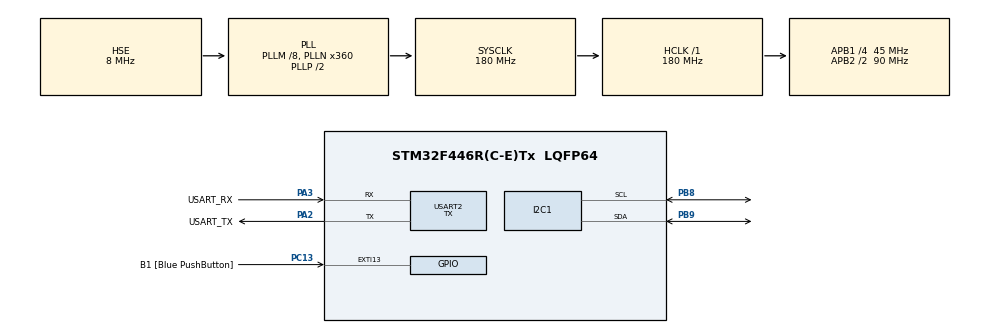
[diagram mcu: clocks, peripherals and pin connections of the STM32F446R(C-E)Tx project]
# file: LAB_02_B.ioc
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Mcu.Family=STM32F4
Mcu.Name=STM32F446R(C-E)Tx
Mcu.Package=LQFP64
NVIC.PriorityGroup=NVIC_PRIORITYGROUP_0
PA2.GPIO_Label=USART_TX
PA2.Mode=Asynchronous
PA2.Signal=USART2_TX
PA3.GPIO_Label=USART_RX
PA3.Mode=Asynchronous
PA3.Signal=USART2_RX
PB8.Mode=I2C
PB8.Signal=I2C1_SCL
PB9.Mode=I2C
PB9.Signal=I2C1_SDA
PC13.GPIO_Label=B1 [Blue PushButton]
PC13.GPIO_ModeDefaultEXTI=GPIO_MODE_IT_FALLING
PC13.Signal=GPXTI13
PH0-OSC_IN.Mode=HSE-External-Oscillator
PH0-OSC_IN.Signal=RCC_OSC_IN
PH1-OSC_OUT.Mode=HSE-External-Oscillator
PH1-OSC_OUT.Signal=RCC_OSC_OUT
ProjectManager.HeapSize=0x200
ProjectManager.StackSize=0x400
ProjectManager.TargetToolchain=STM32CubeIDE
RCC.AHBFreq_Value=180000000
RCC.APB1CLKDivider=RCC_HCLK_DIV4
RCC.APB1Freq_Value=45000000
RCC.APB1TimFreq_Value=90000000
RCC.APB2CLKDivider=RCC_HCLK_DIV2
RCC.APB2Freq_Value=90000000
RCC.APB2TimFreq_Value=180000000
RCC.CortexFreq_Value=180000000
RCC.FLatency-AdvancedSettings=FLASH_LATENCY_5
RCC.HCLKFreq_Value=180000000
RCC.HSE_VALUE=8000000
RCC.HSI_VALUE=16000000
RCC.LSE_VALUE=32768
RCC.PLLM=8
RCC.PLLN=360
RCC.PLLSourceVirtual=RCC_PLLSOURCE_HSE
RCC.SYSCLKFreq_VALUE=180000000
RCC.SYSCLKSource=RCC_SYSCLKSOURCE_PLLCLK
RCC.USBFreq_Value=180000000
RCC.VCOOutputFreq_Value=360000000
TIM6.Prescaler=89
USART2.Mode=MODE_TX
USART2.VirtualMode=VM_ASYNC
VP_TIM6_VS_ClockSourceINT.Mode=Enable_Timer
board=NUCLEO-F446RE

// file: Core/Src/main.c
/* USER CODE BEGIN Header */
/**
  ******************************************************************************
  * @file           : main.c
  * @brief          : Main program body
  ******************************************************************************
  * @attention
  *
  * Copyright (c) 2026 STMicroelectronics.
  * All rights reserved.
  *
  * This software is licensed under terms that can be found in the LICENSE file
  * in the root directory of this software component.
  * If no LICENSE file comes with this software, it is provided AS-IS.
  *
  ******************************************************************************
  */
/* USER CODE END Header */
#include "main.h"

/* USER CODE BEGIN Includes */
#include <stdio.h>
#include <string.h>
#include <stdint.h>
/* USER CODE END Includes */

/* USER CODE BEGIN PTD */

/* 4. Structure for Calibration: */

typedef struct {
    uint16_t TEMP_1;
    int16_t  TEMP_2;
    int16_t  TEMP_3;
    uint16_t PRESS_1;
    int16_t  PRESS_2;
    int16_t  PRESS_3;
    int16_t  PRESS_4;
    int16_t  PRESS_5;
    int16_t  PRESS_6;
    int16_t  PRESS_7;
    int16_t  PRESS_8;
    int16_t  PRESS_9;
    uint8_t  HUM_1;
    int16_t  HUM_2;
    uint8_t  HUM_3;
    int16_t  HUM_4;
    int16_t  HUM_5;
    int8_t   HUM_6;
} BME_P280_CALIBRATION;

/* USER CODE END PTD */

/* USER CODE BEGIN PD */

/* 2. Register Mapping: */

#define BME_P280_REGISTER_CHIP_ID      				0xD0
#define BME_P280_REGISTER_RESET        				0xE0
#define BME_P280_REGISTER_CTRL_HUM   				0xF2
#define BME_P280_REGISTER_STATUS       				0xF3
#define BME_P280_REGISTER_CONTROL_MEASURE    		0xF4
#define BME_P280_REGISTER_CONFIGURE       			0xF5
#define BME_P280_REGISTER_PRESSURE_MSB    			0xF7
#define BME_P280_REGISTER_HUM_MSB     				0xFD
#define BME_P280_REGISTER_HUM_LSB     				0xFE
#define BME_P280_REGISTER_CALIBRATION_START  		0x88
#define BME_P280_REGISTER_HUM_CALIB   				0xA1   // extra calibration byte
#define BME_P280_REGISTER_HUM_CALIB2  				0xE1   // block of humidity calibration
#define BME_P280_RESET_VALUE      					0xB6
#define BME_P280_CTRL_HUM_VALUE      				0x01   // oversampling x1 (minimum)
#define BME_P280_CONTROL_MEASURE_VALUE    			((2U << 5) | (5U << 2) | 3U)   // Decodes to 0x57
#define BME_P280_CONFIGURE_VALUE       				((4U << 5) | (4U << 2))        // Decodes to 0x90

/* 3. Address Mapping: */

#define BME_P280_I2C_ADDRESS         				0x76
#define CHIP_ADDRESS_BME280          				0x60
#define CHIP_ADDRESS_BMP280          				0x58

/* USER CODE END PD */

I2C_HandleTypeDef hi2c1;

TIM_HandleTypeDef htim6;

UART_HandleTypeDef huart2;

/* USER CODE BEGIN PV */
static BME_P280_CALIBRATION CALIBRATION;
static int32_t t_fine;
/* USER CODE END PV */

void SystemClock_Config(void);
static void MX_GPIO_Init(void);
static void MX_I2C1_Init(void);
static void MX_TIM6_Init(void);
static void MX_USART2_UART_Init(void);
/* USER CODE BEGIN PFP */
void USART2_SendString(const char *s);
void delay_us(uint16_t us);
void delay_ms(uint32_t ms);
void I2C_WRITE_BYTE(uint8_t reg, uint8_t data);
uint8_t I2C_READ_BYTE(uint8_t reg);
void I2C_READ_BYTES(uint8_t start_reg, uint8_t *buf, uint8_t len);
int I2C_DEVICE_ALIVE(void);
void BME_P280_CALIBRATION_READ(void);
void BME_P280_INIT(void);
int32_t BME_P280_BOSCH_TEMP_COMPENSATE(int32_t adc_T);
uint32_t BME_P280_BOSCH_PRESS_COMPENSATE(int32_t adc_P);
uint32_t BME_P280_BOSCH_HUM_COMPENSATE(int32_t adc_H);
void BME_P280_TEMP_PRESS_HUM(void);
void SENSOR_CHECK(void);
/* USER CODE END PFP */

/* USER CODE BEGIN 0 */

void USART2_SendString(const char *s)
{
    // Blocking transmit of a null-terminated string over USART2 via HAL
    HAL_UART_Transmit(&huart2, (uint8_t *)s, strlen(s), HAL_MAX_DELAY);
}

void delay_us(uint16_t us)
{
    __HAL_TIM_SET_COUNTER(&htim6, 0U); // Reset TIM6 counter
    while ((uint16_t)__HAL_TIM_GET_COUNTER(&htim6) < us); // Wait until the counter reaches us ticks (1us per tick)
}

void delay_ms(uint32_t ms)
{
    for (uint32_t i = 0; i < ms; i++)
    {
        delay_us(1000U);
    }
}

void I2C_WRITE_BYTE(uint8_t reg, uint8_t data)
{
    // Write a single byte to a register using HAL memory-write (handles START/ADDR/STOP internally)
    HAL_I2C_Mem_Write(&hi2c1, (BME_P280_I2C_ADDRESS << 1), reg,
                      I2C_MEMADD_SIZE_8BIT, &data, 1, HAL_MAX_DELAY);
}

uint8_t I2C_READ_BYTE(uint8_t reg)
{
    uint8_t val = 0xFF; // Buffer for Read value

    // Read a single byte from a register using HAL memory-read (handles repeated START + NACK internally)
    HAL_I2C_Mem_Read(&hi2c1, (BME_P280_I2C_ADDRESS << 1), reg,
                     I2C_MEMADD_SIZE_8BIT, &val, 1, HAL_MAX_DELAY);

    return val;
}

void I2C_READ_BYTES(uint8_t start_reg, uint8_t *buf, uint8_t len)
{
    if (len == 0) return;

    // Burst read of len bytes starting at start_reg using HAL memory-read (auto ACK/NACK per byte)
    HAL_I2C_Mem_Read(&hi2c1, (BME_P280_I2C_ADDRESS << 1), start_reg,
                     I2C_MEMADD_SIZE_8BIT, buf, len, HAL_MAX_DELAY);
}

int I2C_DEVICE_ALIVE(void)
{
    // Probe the slave address; returns 1 if the device ACKs within the given trials/timeout
    int alive = (HAL_I2C_IsDeviceReady(&hi2c1, (BME_P280_I2C_ADDRESS << 1), 3, 100) == HAL_OK); // Boolean to check if Slave ACKs
    delay_ms(2);
    return alive;
}

void BME_P280_CALIBRATION_READ(void)
{
    uint8_t CALIB_VAL[24];
    I2C_READ_BYTES(BME_P280_REGISTER_CALIBRATION_START, CALIB_VAL, 24); // Load 24-byte calibration block starting at 0x88

    CALIBRATION.TEMP_1 = (uint16_t)((CALIB_VAL[1]  << 8) | CALIB_VAL[0]);
    CALIBRATION.TEMP_2 = (int16_t) ((CALIB_VAL[3]  << 8) | CALIB_VAL[2]);
    CALIBRATION.TEMP_3 = (int16_t) ((CALIB_VAL[5]  << 8) | CALIB_VAL[4]);

    CALIBRATION.PRESS_1 = (uint16_t)((CALIB_VAL[7]  << 8) | CALIB_VAL[6]);
    CALIBRATION.PRESS_2 = (int16_t) ((CALIB_VAL[9]  << 8) | CALIB_VAL[8]);
    CALIBRATION.PRESS_3 = (int16_t) ((CALIB_VAL[11] << 8) | CALIB_VAL[10]);
    CALIBRATION.PRESS_4 = (int16_t) ((CALIB_VAL[13] << 8) | CALIB_VAL[12]);
    CALIBRATION.PRESS_5 = (int16_t) ((CALIB_VAL[15] << 8) | CALIB_VAL[14]);
    CALIBRATION.PRESS_6 = (int16_t) ((CALIB_VAL[17] << 8) | CALIB_VAL[16]);
    CALIBRATION.PRESS_7 = (int16_t) ((CALIB_VAL[19] << 8) | CALIB_VAL[18]);
    CALIBRATION.PRESS_8 = (int16_t) ((CALIB_VAL[21] << 8) | CALIB_VAL[20]);
    CALIBRATION.PRESS_9 = (int16_t) ((CALIB_VAL[23] << 8) | CALIB_VAL[22]);

    CALIBRATION.HUM_1 = I2C_READ_BYTE(BME_P280_REGISTER_HUM_CALIB);
	uint8_t humCalib[7];
	I2C_READ_BYTES(BME_P280_REGISTER_HUM_CALIB2, humCalib, 7);

	CALIBRATION.HUM_2 = (int16_t)((humCalib[1] << 8) | humCalib[0]);
	CALIBRATION.HUM_3 = humCalib[2];
	CALIBRATION.HUM_4 = (int16_t)((humCalib[3] << 4) | (humCalib[4] & 0x0F));
	CALIBRATION.HUM_5 = (int16_t)((humCalib[5] << 4) | (humCalib[4] >> 4));
	CALIBRATION.HUM_6 = (int8_t)humCalib[6];
}

void BME_P280_INIT(void)
{
    // 1. Reset the sensor (soft reset command 0xB6 to register 0xE0)
    I2C_WRITE_BYTE(BME_P280_REGISTER_RESET, BME_P280_RESET_VALUE);
    delay_ms(10); // Wait for reset to complete

    // 2. Configure general settings (IIR filter, standby time, etc.)
    // Value 0x90 = filter coefficient x16, standby time 125 ms
    I2C_WRITE_BYTE(BME_P280_REGISTER_CONFIGURE, BME_P280_CONFIGURE_VALUE);
    delay_ms(2); // Short delay for register update
    I2C_WRITE_BYTE(BME_P280_REGISTER_CTRL_HUM, BME_P280_CTRL_HUM_VALUE);
    delay_ms(2);

    // 3. Configure measurement control (oversampling + mode)
    // Value 0x57 = Temp oversampling x2, Pressure oversampling x5, Normal mode
    I2C_WRITE_BYTE(BME_P280_REGISTER_CONTROL_MEASURE, BME_P280_CONTROL_MEASURE_VALUE);
    delay_ms(2); // Short delay for register update
}

int32_t BME_P280_BOSCH_TEMP_COMPENSATE(int32_t adc_T)
{
    int32_t var1, var2, T;

    // First correction term: linear offset/slope adjustment
    var1 = ((((adc_T >> 3) - ((int32_t)CALIBRATION.TEMP_1 << 1)))
             * ((int32_t)CALIBRATION.TEMP_2)) >> 11;

    // Second correction term: quadratic correction for non-linearity
    var2 = (((((adc_T >> 4) - ((int32_t)CALIBRATION.TEMP_1))
             * ((adc_T >> 4) - ((int32_t)CALIBRATION.TEMP_1))) >> 12)
             * ((int32_t)CALIBRATION.TEMP_3)) >> 14;

    // Fine temperature value (global correction factor reused in pressure/humidity)
    t_fine = var1 + var2;

    // Final compensated temperature in 0.01 °C units
    T = (t_fine * 5 + 128) >> 8;

    return T;
}

uint32_t BME_P280_BOSCH_PRESS_COMPENSATE(int32_t adc_P)
{
    int64_t var1, var2, p;

    // Fine temperature correction
    var1 = ((int64_t)t_fine) - 128000;

    // Higher-order polynomial corrections
    var2 = var1 * var1 * (int64_t)CALIBRATION.PRESS_6;
    var2 = var2 + ((var1 * (int64_t)CALIBRATION.PRESS_5) << 17);
    var2 = var2 + (((int64_t)CALIBRATION.PRESS_4) << 35);

    // More corrections using PRESS_2 and PRESS_3
    var1 = ((var1 * var1 * (int64_t)CALIBRATION.PRESS_3) >> 8)
         + ((var1 * (int64_t)CALIBRATION.PRESS_2) << 12);

    // Scaling with PRESS_1 (main pressure calibration factor)
    var1 = (((((int64_t)1) << 47) + var1)) * ((int64_t)CALIBRATION.PRESS_1) >> 33;

    // Guard against division by zero
    if (var1 == 0) return 0;

    // Pressure calculation
    p = 1048576 - adc_P;
    p = (((p << 31) - var2) * 3125) / var1;

    // PRESS_9 and PRESS_8 corrections
    var1 = (((int64_t)CALIBRATION.PRESS_9) * (p >> 13) * (p >> 13)) >> 25;
    var2 = (((int64_t)CALIBRATION.PRESS_8) * p) >> 19;

    // Final adjustment with PRESS_7
    p = ((p + var1 + var2) >> 8) + (((int64_t)CALIBRATION.PRESS_7) << 4);

    // Return compensated pressure in Pa (integer)
    return (uint32_t)(p >> 8);
}

uint32_t BME_P280_BOSCH_HUM_COMPENSATE(int32_t adc_H)
{
    int32_t v_x1_u32r;

    v_x1_u32r = t_fine - ((int32_t)76800);
    v_x1_u32r = (((((adc_H << 14) - (((int32_t)CALIBRATION.HUM_4) << 20)
                  - (((int32_t)CALIBRATION.HUM_5) * v_x1_u32r)) + ((int32_t)16384)) >> 15)
                  * ((((((v_x1_u32r * ((int32_t)CALIBRATION.HUM_6)) >> 10)
                  * (((v_x1_u32r * ((int32_t)CALIBRATION.HUM_3)) >> 11) + ((int32_t)32768))) >> 10)
                  + ((int32_t)2097152)) * ((int32_t)CALIBRATION.HUM_2) + 8192)) >> 14;

    v_x1_u32r = (v_x1_u32r - (((((v_x1_u32r >> 15) * (v_x1_u32r >> 15)) >> 7)
                  * ((int32_t)CALIBRATION.HUM_1)) >> 4));

    v_x1_u32r = (v_x1_u32r < 0 ? 0 : v_x1_u32r);
    v_x1_u32r = (v_x1_u32r > 419430400 ? 419430400 : v_x1_u32r);

    return (uint32_t)(v_x1_u32r >> 12); // result in %RH * 1024
}

void BME_P280_TEMP_PRESS_HUM(void)
{
    char MESSAGE[120];
    uint8_t VALUE[8];

    I2C_READ_BYTES(BME_P280_REGISTER_PRESSURE_MSB, VALUE, 8);

    int32_t P = ((int32_t)VALUE[0] << 12) | ((int32_t)VALUE[1] << 4) | ((int32_t)VALUE[2] >> 4);
    int32_t T = ((int32_t)VALUE[3] << 12) | ((int32_t)VALUE[4] << 4) | ((int32_t)VALUE[5] >> 4);
    int32_t H = ((int32_t)VALUE[6] << 8) | VALUE[7];

    int32_t TEMP_BASIC = BME_P280_BOSCH_TEMP_COMPENSATE(T);
    uint32_t PRESSURE_PASCAL = BME_P280_BOSCH_PRESS_COMPENSATE(P);
    uint32_t HUMIDITY_BASIC = BME_P280_BOSCH_HUM_COMPENSATE(H);

    int32_t TEMP_FINAL = TEMP_BASIC / 100;
    int32_t TEMP_FRACTION = (TEMP_BASIC < 0 ? -TEMP_BASIC : TEMP_BASIC) % 100;
    uint32_t PRESSURE_HECTO = PRESSURE_PASCAL / 100;
    uint32_t PRESSURE_HECTO_FRACTION = PRESSURE_PASCAL % 100;
    uint32_t HUMIDITY_FINAL = HUMIDITY_BASIC / 1024;
    uint32_t HUMIDITY_FRACTION = (HUMIDITY_BASIC % 1024) * 100 / 1024;

    sprintf(MESSAGE, "|  %6ld.%02ld°C       |  %6lu.%02lu hPa   |   %3lu.%02lu %%RH     |\r\n",
            (long)TEMP_FINAL, (long)TEMP_FRACTION,
            (unsigned long)PRESSURE_HECTO, (unsigned long)PRESSURE_HECTO_FRACTION,
            (unsigned long)HUMIDITY_FINAL, (unsigned long)HUMIDITY_FRACTION);

    USART2_SendString(MESSAGE);
}

void SENSOR_CHECK(void)
{
    char MESSAGE[80];

    USART2_SendString("============================================================\r\n");
    USART2_SendString("[1] Sending Slave Address (0x76) and checking ACK...\r\n");
    if (!I2C_DEVICE_ALIVE()) {
        USART2_SendString("[!] ACK not received. Going idle...\r\n");
        while (1);
    }
    USART2_SendString("[*] Device ACK received...\r\n");
    delay_ms(5000);

    USART2_SendString("============================================================\r\n");
    USART2_SendString("[2] Reading chip ID register (0xD0)...\r\n");
    uint8_t id = I2C_READ_BYTE(BME_P280_REGISTER_CHIP_ID);
    sprintf(MESSAGE, "Raw value: 0x%02X\r\n", id);
    USART2_SendString(MESSAGE);
    USART2_SendString("============================================================\r\n");

    USART2_SendString("[3] Identifying the sensor (BME280 or BMP280)...\r\n");
    if (id == CHIP_ADDRESS_BME280)
        USART2_SendString("[*] BME280 detected (has humidity)\r\n");
    else if (id == CHIP_ADDRESS_BMP280)
    	USART2_SendString("[*] BMP280 detected\r\n");
    else
    {
        sprintf(MESSAGE, "[!] UNKNOWN chip ID: 0x%02X.. Going Idle...\r\n", id);
        USART2_SendString(MESSAGE);
        while (1);
    }
    USART2_SendString("============================================================\r\n");
}

/* USER CODE END 0 */

int main(void)
{

  /* MCU Configuration--------------------------------------------------------*/

  /* Reset of all peripherals, Initializes the Flash interface and the Systick. */
  HAL_Init();

  /* Configure the system clock */
  SystemClock_Config();

  /* Initialize all configured peripherals */
  MX_GPIO_Init();
  MX_I2C1_Init();
  MX_TIM6_Init();
  MX_USART2_UART_Init();
  /* USER CODE BEGIN 2 */
  HAL_TIM_Base_Start(&htim6); // Start TIM6 free-running so delay_us()/delay_ms() work (1us per tick)

  USART2_SendString("LAB 02 (HAL): BME/P-280 Sensor Communication by I2C\r\n");
  delay_ms(5000);
  SENSOR_CHECK();

  USART2_SendString("[4] Reading Chip Calibration Factors...\r\n");
  BME_P280_CALIBRATION_READ();
  USART2_SendString("Calibration Factors found and loaded...\r\n");
  USART2_SendString("============================================================\r\n");

  USART2_SendString("[5] Configuring BME/P280 in Normal Mode...\r\n");
  BME_P280_INIT();
  USART2_SendString("BME/P Ready for Operation...\r\n");
  delay_ms(5000);

  USART2_SendString("============================================================\r\n");
  USART2_SendString("[6] Temperature and Pressure Record per Second...\r\n");
  USART2_SendString("============================================================\r\n");
  USART2_SendString("|  Temperature (°C)  |  Pressure (hPa)  |  Humidity (%RH)  |\r\n");
  /* USER CODE END 2 */

  /* Infinite loop */
  /* USER CODE BEGIN WHILE */
  while (1)
  {
    BME_P280_TEMP_PRESS_HUM();
    delay_ms(1000);
    /* USER CODE END WHILE */

  }
}

void SystemClock_Config(void)
{
  RCC_OscInitTypeDef RCC_OscInitStruct = {0};
  RCC_ClkInitTypeDef RCC_ClkInitStruct = {0};

  /** Configure the main internal regulator output voltage
  */
  __HAL_RCC_PWR_CLK_ENABLE();
  __HAL_PWR_VOLTAGESCALING_CONFIG(PWR_REGULATOR_VOLTAGE_SCALE1);

  /** Initializes the RCC Oscillators according to the specified parameters
  * in the RCC_OscInitTypeDef structure.
  */
  RCC_OscInitStruct.OscillatorType = RCC_OSCILLATORTYPE_HSE;
  RCC_OscInitStruct.HSEState = RCC_HSE_ON;
  RCC_OscInitStruct.PLL.PLLState = RCC_PLL_ON;
  RCC_OscInitStruct.PLL.PLLSource = RCC_PLLSOURCE_HSE;
  RCC_OscInitStruct.PLL.PLLM = 8;
  RCC_OscInitStruct.PLL.PLLN = 360;
  RCC_OscInitStruct.PLL.PLLP = RCC_PLLP_DIV2;
  RCC_OscInitStruct.PLL.PLLQ = 2;
  RCC_OscInitStruct.PLL.PLLR = 2;
  if (HAL_RCC_OscConfig(&RCC_OscInitStruct) != HAL_OK)
  {
    Error_Handler();
  }

  /** Activate the Over-Drive mode
  */
  if (HAL_PWREx_EnableOverDrive() != HAL_OK)
  {
    Error_Handler();
  }

  /** Initializes the CPU, AHB and APB buses clocks
  */
  RCC_ClkInitStruct.ClockType = RCC_CLOCKTYPE_HCLK|RCC_CLOCKTYPE_SYSCLK
                              |RCC_CLOCKTYPE_PCLK1|RCC_CLOCKTYPE_PCLK2;
  RCC_ClkInitStruct.SYSCLKSource = RCC_SYSCLKSOURCE_PLLCLK;
  RCC_ClkInitStruct.AHBCLKDivider = RCC_SYSCLK_DIV1;
  RCC_ClkInitStruct.APB1CLKDivider = RCC_HCLK_DIV4;
  RCC_ClkInitStruct.APB2CLKDivider = RCC_HCLK_DIV2;

  if (HAL_RCC_ClockConfig(&RCC_ClkInitStruct, FLASH_LATENCY_5) != HAL_OK)
  {
    Error_Handler();
  }
}

static void MX_I2C1_Init(void)
{

  hi2c1.Instance = I2C1;
  hi2c1.Init.ClockSpeed = 100000;
  hi2c1.Init.DutyCycle = I2C_DUTYCYCLE_2;
  hi2c1.Init.OwnAddress1 = 0;
  hi2c1.Init.AddressingMode = I2C_ADDRESSINGMODE_7BIT;
  hi2c1.Init.DualAddressMode = I2C_DUALADDRESS_DISABLE;
  hi2c1.Init.OwnAddress2 = 0;
  hi2c1.Init.GeneralCallMode = I2C_GENERALCALL_DISABLE;
  hi2c1.Init.NoStretchMode = I2C_NOSTRETCH_DISABLE;
  if (HAL_I2C_Init(&hi2c1) != HAL_OK)
  {
    Error_Handler();
  }

}

static void MX_TIM6_Init(void)
{

  TIM_MasterConfigTypeDef sMasterConfig = {0};

  htim6.Instance = TIM6;
  htim6.Init.Prescaler = 89;
  htim6.Init.CounterMode = TIM_COUNTERMODE_UP;
  htim6.Init.Period = 65535;
  htim6.Init.AutoReloadPreload = TIM_AUTORELOAD_PRELOAD_DISABLE;
  if (HAL_TIM_Base_Init(&htim6) != HAL_OK)
  {
    Error_Handler();
  }
  sMasterConfig.MasterOutputTrigger = TIM_TRGO_RESET;
  sMasterConfig.MasterSlaveMode = TIM_MASTERSLAVEMODE_DISABLE;
  if (HAL_TIMEx_MasterConfigSynchronization(&htim6, &sMasterConfig) != HAL_OK)
  {
    Error_Handler();
  }

}

static void MX_USART2_UART_Init(void)
{

  huart2.Instance = USART2;
  huart2.Init.BaudRate = 115200;
  huart2.Init.WordLength = UART_WORDLENGTH_8B;
  huart2.Init.StopBits = UART_STOPBITS_1;
  huart2.Init.Parity = UART_PARITY_NONE;
  huart2.Init.Mode = UART_MODE_TX;
  huart2.Init.HwFlowCtl = UART_HWCONTROL_NONE;
  huart2.Init.OverSampling = UART_OVERSAMPLING_16;
  if (HAL_UART_Init(&huart2) != HAL_OK)
  {
    Error_Handler();
  }

}

static void MX_GPIO_Init(void)
{
  GPIO_InitTypeDef GPIO_InitStruct = {0};

  /* GPIO Ports Clock Enable */
  __HAL_RCC_GPIOC_CLK_ENABLE();
  __HAL_RCC_GPIOH_CLK_ENABLE();
  __HAL_RCC_GPIOA_CLK_ENABLE();
  __HAL_RCC_GPIOB_CLK_ENABLE();

  /*Configure GPIO pin : B1_Pin */
  GPIO_InitStruct.Pin = B1_Pin;
  GPIO_InitStruct.Mode = GPIO_MODE_IT_FALLING;
  GPIO_InitStruct.Pull = GPIO_NOPULL;
  HAL_GPIO_Init(B1_GPIO_Port, &GPIO_InitStruct);

}

void Error_Handler(void)
{
  __disable_irq();
  while (1)
  {
  }
}
